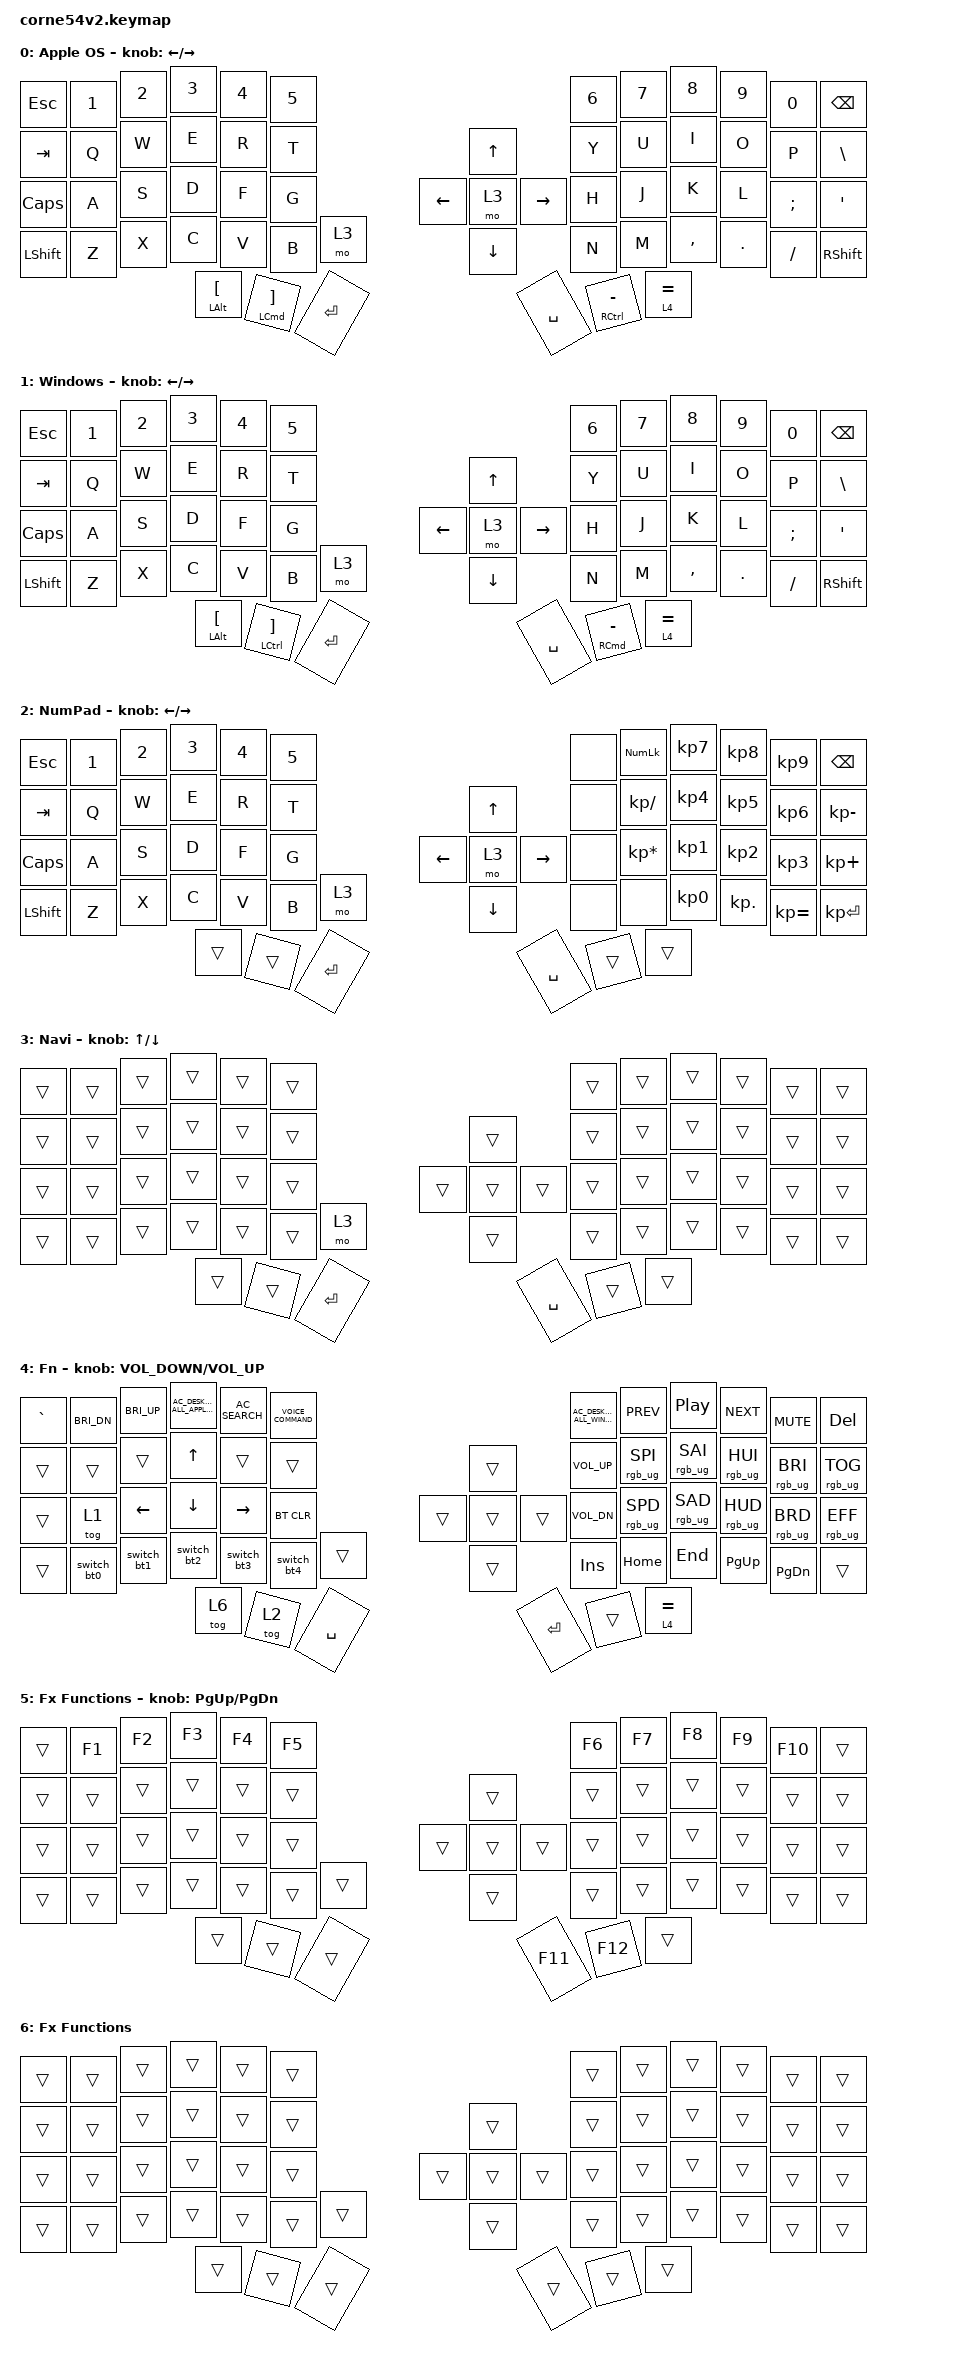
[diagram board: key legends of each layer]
#include <behaviors.dtsi>
#include <dt-bindings/zmk/keys.h>
#include <dt-bindings/zmk/bt.h>
#include <dt-bindings/zmk/rgb.h>



&mt {
    tapping-term-ms = <200>;
};

&lt {
    tapping-term-ms = <200>;
};

&kscan0 {
    debounce-press-ms = <4>;
    debounce-release-ms = <4>;
};

/ {

    /* 
    behaviors {  
        htlk: hold_tap_layer_key {
            compatible = "zmk,behavior-hold-tap";
            #binding-cells = <2>;          
            tapping-term-ms = <200>;       
            flavor = "tap-preferred";    
            bindings = <&mo>, <&kp>;     
        };
    };
    */


    conditional_layers {
        compatible = "zmk,conditional-layers";
        tri_layer {
            if-layers = <4 6>;
            then-layer = <5>;
        };
    };

    behaviors {
        tog_on: toggle_layer_on_only {
            compatible = "zmk,behavior-toggle-layer";
            #binding-cells = <1>;
            display-name = "Toggle Layer On";
            toggle-mode = "on";
        };

		tog_off: toggle_layer_off_only {
            compatible = "zmk,behavior-toggle-layer";
            #binding-cells = <1>;
            display-name = "Toggle Layer Off";
            toggle-mode = "off";
        };
    };

    macros {
        m_w_zoom_in: w_zoom_in_macro {
            compatible = "zmk,behavior-macro";
            #binding-cells = <0>;       
            bindings = 
                <&macro_press &kp LCTRL>,        
                <&macro_tap &kp MINUS>,                  
                <&macro_release &kp LCTRL>;
        };

        m_w_zoom_out: w_zoom_out_macro {
            compatible = "zmk,behavior-macro";
            #binding-cells = <0>;       
            bindings = 
                <&macro_press &kp LCTRL>,        
                <&macro_tap &kp EQUAL>,                  
                <&macro_release &kp LCTRL>;
        };

        m_zoom_in: zoom_in_macro {
            compatible = "zmk,behavior-macro";
            #binding-cells = <0>;       
            bindings = 
                <&macro_press &kp LCMD>,        
                <&macro_tap &kp MINUS>,                  
                <&macro_release &kp LCMD>;
        };

        m_zoom_out: zoom_out_macro {
            compatible = "zmk,behavior-macro";
            #binding-cells = <0>;       
            bindings = 
                <&macro_press &kp LCMD>,        
                <&macro_tap &kp EQUAL>,                  
                <&macro_release &kp LCMD>;
        };

        switch_bt0: switch_to_bt_profile_0 {
            compatible = "zmk,behavior-macro";
            #binding-cells = <0>;
            bindings = <&bt BT_SEL 0>, <&tog_off 1>;
        };
        switch_bt1: switch_to_bt_profile_1 {
            compatible = "zmk,behavior-macro";
            #binding-cells = <0>;
            bindings = <&bt BT_SEL 1>, <&tog_on 1>;
        };

        switch_bt2: switch_to_bt_profile_2 {
            compatible = "zmk,behavior-macro";
            #binding-cells = <0>;
            bindings = <&bt BT_SEL 2>, <&tog_off 1>;
        };

        switch_bt3: switch_to_bt_profile_3 {
            compatible = "zmk,behavior-macro";
            #binding-cells = <0>;
            bindings = <&bt BT_SEL 3>, <&tog_off 1>;
        };


    };

    behaviors {
        zoom_in_out: rotate_zoom_in_out {
            compatible = "zmk,behavior-sensor-rotate";
            #sensor-binding-cells = <0>;
            bindings = 
                <&m_zoom_in>,        
                <&m_zoom_out>;
        }; 
        
        w_zoom_in_out: rotate_w_zoom_in_out {
            compatible = "zmk,behavior-sensor-rotate";
            #sensor-binding-cells = <0>;
            bindings = 
                <&m_w_zoom_in>, 
                <&m_w_zoom_out>;
        }; 

    };

        behaviors {
        gresc: grave_escape {
            compatible = "zmk,behavior-mod-morph";
            #binding-cells = <0>;
            bindings = <&kp ESC>, <&kp GRAVE>;
            mods = <(MOD_LSFT|MOD_RSFT)>;
        };
    };


    keymap {
        compatible = "zmk,keymap";

        default_layer {
            display-name = "Apple OS";
            bindings = <
                &kp ESC   &kp N1      &kp N2      &kp N3      &kp N4       &kp N5                                     &kp N6      &kp N7      &kp N8    &kp N9   &kp N0   &kp BSPC
                &kp TAB   &kp Q       &kp W       &kp E       &kp R        &kp T                   &kp UP             &kp Y       &kp U       &kp I     &kp O    &kp P    &kp BSLH
                &kp CAPS  &kp A       &kp S       &kp D       &kp F        &kp G           &kp LEFT &mo 3 &kp RIGHT   &kp H       &kp J       &kp K     &kp L    &kp SEMI &kp SQT
                &kp LSHFT &kp Z       &kp X       &kp C       &kp V        &kp B  &mo 3             &kp DOWN          &kp N       &kp M       &kp COMMA &kp DOT  &kp FSLH &kp RSHFT
                                                  &mt LALT LBKT &mt LCMD RBKT &kp ENTER                               &kp SPACE   &mt RCTRL MINUS   &lt 4 EQUAL 
            >;

            sensor-bindings = <&inc_dec_kp LEFT RIGHT>;
        };

        win_layer {
            display-name = "Windows";
            bindings = <
                &kp ESC   &kp N1      &kp N2      &kp N3      &kp N4       &kp N5                                     &kp N6      &kp N7      &kp N8    &kp N9   &kp N0   &kp BSPC
                &kp TAB   &kp Q       &kp W       &kp E       &kp R        &kp T                    &kp UP            &kp Y       &kp U       &kp I     &kp O    &kp P    &kp BSLH
                &kp CAPS  &kp A       &kp S       &kp D       &kp F        &kp G           &kp LEFT &mo 3 &kp RIGHT   &kp H       &kp J       &kp K     &kp L    &kp SEMI &kp SQT
                &kp LSHFT &kp Z       &kp X       &kp C       &kp V        &kp B  &mo 3             &kp DOWN          &kp N       &kp M       &kp COMMA &kp DOT  &kp FSLH &kp RSHFT
                                                  &mt LALT LBKT &mt LCTRL RBKT &kp ENTER                              &kp SPACE   &mt RCMD MINUS   &lt 4 EQUAL 
            >;

            sensor-bindings = <&inc_dec_kp LEFT RIGHT>;
        };

        numpad_layer {
            display-name = "NumPad";
            bindings = <
                &kp ESC   &kp N1      &kp N2      &kp N3      &kp N4       &kp N5                                   &none  &kp KP_NLCK     &kp KP_N7 &kp KP_N8 &kp KP_N9 &kp BSPC
                &kp TAB   &kp Q       &kp W       &kp E       &kp R        &kp T                   &kp UP           &none  &kp KP_DIVIDE   &kp KP_N4 &kp KP_N5 &kp KP_N6 &kp KP_MINUS
                &kp CAPS  &kp A       &kp S       &kp D       &kp F        &kp G          &kp LEFT &mo 3 &kp RIGHT  &none  &kp KP_MULTIPLY &kp KP_N1 &kp KP_N2 &kp KP_N3 &kp KP_PLUS
                &kp LSHFT &kp Z       &kp X       &kp C       &kp V        &kp B  &mo 3            &kp DOWN         &none  &none           &kp KP_N0 &kp KP_DOT  &kp KP_EQUAL &kp KP_ENTER
                                                  &trans      &trans       &kp ENTER                                &kp SPACE    &trans      &trans
            >;
            sensor-bindings = <&inc_dec_kp LEFT RIGHT>;
        };
        navi_layer {
            display-name = "Navi";
            bindings = <
                &trans   &trans      &trans      &trans      &trans       &trans                                   &trans      &trans      &trans   &trans   &trans   &trans
                &trans   &trans      &trans      &trans      &trans       &trans                  &trans           &trans      &trans      &trans   &trans   &trans   &trans
                &trans   &trans      &trans      &trans      &trans       &trans         &trans   &trans  &trans   &trans      &trans      &trans   &trans   &trans   &trans
                &trans   &trans      &trans      &trans      &trans       &trans &mo 3            &trans           &trans      &trans      &trans   &trans   &trans   &trans
                                                 &trans      &trans       &kp ENTER                                 &kp SPACE   &trans      &trans
            >;
            sensor-bindings = < &inc_dec_kp UP DOWN>;
        };
        fn_layer {
            display-name = "Fn";
            bindings = <
                &kp GRAVE &kp C_BRI_DN &kp C_BRI_UP  &kp C_AC_DESKTOP_SHOW_ALL_APPLICATIONS &kp C_AC_SEARCH &kp C_VOICE_COMMAND  &kp C_AC_DESKTOP_SHOW_ALL_WINDOWS &kp C_PREV &kp C_PP &kp C_NEXT &kp C_MUTE &kp DEL 
                &trans      &trans        &trans       &kp UP     &trans       &trans                              &trans          &kp C_VOL_UP &rgb_ug RGB_SPI &rgb_ug RGB_SAI &rgb_ug RGB_HUI &rgb_ug RGB_BRI &rgb_ug RGB_TOG
                &trans      &tog 1        &kp LEFT     &kp DOWN   &kp RIGHT    &bt BT_CLR                   &trans &trans &trans   &kp C_VOL_DN &rgb_ug RGB_SPD &rgb_ug RGB_SAD &rgb_ug RGB_HUD &rgb_ug RGB_BRD &rgb_ug RGB_EFF 
                &trans      &switch_bt0   &switch_bt1  &switch_bt2 &switch_bt3 &switch_bt4  &trans                  &trans          &kp INS &kp HOME         &kp END        &kp PG_UP       &kp PG_DN       &trans  
                                                       &tog 6     &tog 2       &kp SPACE                                           &kp ENTER &trans &lt 4 EQUAL
            >;
            sensor-bindings = <&inc_dec_kp C_VOLUME_DOWN C_VOL_UP >;
 
        }; 
        fx_layer {
            display-name = "Fx Functions";
            bindings = <
                &trans      &kp F1      &kp F2      &kp F3      &kp F4       &kp F5                                 &kp F6  &kp F7      &kp F8      &kp F9  &kp F10 &trans
                &trans      &trans      &trans      &trans      &trans       &trans                 &trans          &trans  &trans      &trans      &trans  &trans  &trans 
                &trans      &trans      &trans      &trans      &trans       &trans         &trans  &trans &trans   &trans  &trans      &trans      &trans  &trans  &trans 
                &trans      &trans      &trans      &trans      &trans       &trans  &trans         &trans          &trans  &trans      &trans      &trans  &trans  &trans 
                                                    &trans      &trans       &trans                                 &kp F11 &kp F12     &trans 
            >;
            sensor-bindings = <&inc_dec_kp PG_UP PG_DN >;
        };
        fxFun_layer {
            display-name = "Fx Functions";
            bindings = <
                &trans      &trans      &trans      &trans      &trans       &trans                                 &trans  &trans      &trans      &trans  &trans  &trans
                &trans      &trans      &trans      &trans      &trans       &trans                 &trans          &trans  &trans      &trans      &trans  &trans  &trans 
                &trans      &trans      &trans      &trans      &trans       &trans         &trans  &trans &trans   &trans  &trans      &trans      &trans  &trans  &trans 
                &trans      &trans      &trans      &trans      &trans       &trans  &trans         &trans          &trans  &trans      &trans      &trans  &trans  &trans 
                                                    &trans      &trans       &trans                                 &trans  &trans      &trans
            >;
        };
    };
};
